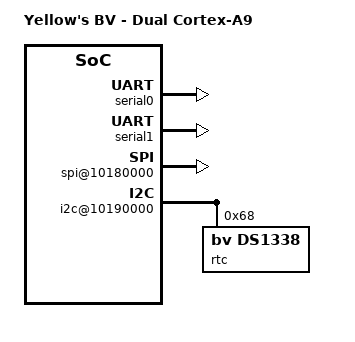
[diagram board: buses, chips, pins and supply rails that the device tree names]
/dts-v1/;
/ {
    compatible = "bv,yellow-bv";
    model = "Yellow's BV - Dual Cortex-A9";
    
    #address-cells = <1>;
    #size-cells = <1>;

    aliases {
        serial0 = &serial0;
        serial1 = &serial1;
        gpio0   = &gpio0;
    };

    chosen {
        bootargs = "ignore_loglevel rw root=/dev/nfs ip=on";
        stdout-path = "serial0:115200n8";
    };

    cpus {
        #address-cells = <1>;
        #size-cells = <0>;

        cpu@0 {
            device_type = "cpu";
            compatible = "arm,cortex-a9";
            reg = <0>;
        };

        cpu@1 {
            device_type = "cpu";
            compatible = "arm,cortex-a9";
            reg = <1>;
        };
    };

    soc {
        compatible = "simple-bus";
        #address-cells = <1>;
        #size-cells = <1>;
        ranges;

        serial0: serial@101b1000 {
            compatible = "arm,bv011";
            reg = <0x101b1000 0x1000>;
        };

        serial1: serial@101b2000 {
            compatible = "arm,bv011";
            reg = <0x101b2000 0x1000>;
        };

        gpio0: gpio@101b3000 {
            compatible = "arm,bv061";
            reg = <0x101b3000 0x1000>;
        };

        spi@10180000 {
            compatible = "arm,bv022";
            reg = <0x10180000 0x1000>;
        };

        i2c@10190000 {
            compatible = "bv,bv-i2c-bus";
            reg = <0x10190000 0x1000>;
            #address-cells = <1>;
            #size-cells = <0>;

            rtc@68 {
                compatible = "bv,ds1338";
                reg = <0x68>;
            };
        };
    };
};
